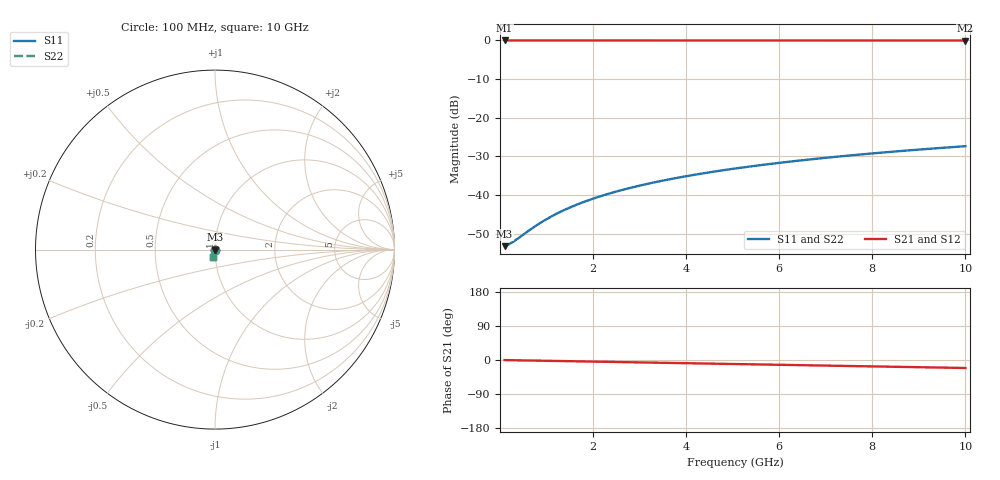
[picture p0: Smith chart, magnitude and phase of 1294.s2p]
# Hz S RI R 50.00
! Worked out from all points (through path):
!   100 points, 100 MHz to 10 GHz, reference 50 ohm
!   highest |S21| = -0.02 dB at 100 MHz (marker M1); lowest = 0.0 dB at 10 GHz (marker M2)
!   group delay of S21, straight-line fit = 5.86 ps
!   lowest |S11| = -53.2 dB at 100 MHz (marker M3), VSWR 1.00, Z = 50.2 - j0.0446 ohm
!   |S11| at or under -10 dB: start of sweep to end of sweep
!   |S22| runs from -53.2 to -27.4 dB; largest |S21 - S12| = 0
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1e8  0.00214 -0.000444  0.9978 -0.00367  0.9978 -0.00367  0.00214 -0.000444
2e8  0.00215 -0.000888  0.9978 -0.00734  0.9978 -0.00734  0.00215 -0.000888
3e8  0.00215 -0.00133  0.9978 -0.011  0.9978 -0.011  0.00215 -0.00133
6e8  0.00212 -0.00266  0.9975 -0.022  0.9975 -0.022  0.00212 -0.00266
8e8  0.00208 -0.00355  0.9973 -0.0294  0.9973 -0.0294  0.00208 -0.00355
9e8  0.00206 -0.00399  0.9972 -0.033  0.9972 -0.033  0.00206 -0.00399
1.1e9  0.002 -0.00488  0.9969 -0.0404  0.9969 -0.0404  0.002 -0.00488
1.4e9  0.00189 -0.00621  0.9964 -0.0514  0.9964 -0.0514  0.00189 -0.00621
1.6e9  0.00179 -0.00709  0.996 -0.0587  0.996 -0.0587  0.00179 -0.00709
1.8e9  0.00169 -0.00797  0.9955 -0.066  0.9955 -0.066  0.00169 -0.00797
2.1e9  0.0015 -0.00929  0.9947 -0.077  0.9947 -0.077  0.0015 -0.00929
2.5e9  0.00121 -0.011  0.9934 -0.0917  0.9934 -0.0917  0.00121 -0.011
2.9e9  0.000863 -0.0128  0.9919 -0.1063  0.9919 -0.1063  0.000863 -0.0128
3.4e9  0.00036 -0.015  0.9897 -0.1245  0.9897 -0.1245  0.00036 -0.015
3.8e9  -9.93e-05 -0.0167  0.9877 -0.1391  0.9877 -0.1391  -9.93e-05 -0.0167
4.2e9  -0.000609 -0.0184  0.9855 -0.1536  0.9855 -0.1536  -0.000609 -0.0184
5.1e9  -0.00194 -0.0222  0.9798 -0.1862  0.9798 -0.1862  -0.00194 -0.0222
5.9e9  -0.00333 -0.0255  0.9737 -0.2149  0.9737 -0.2149  -0.00333 -0.0255
6.7e9  -0.00491 -0.0287  0.9669 -0.2435  0.9669 -0.2435  -0.00491 -0.0287
7.5e9  -0.00668 -0.0318  0.9591 -0.2719  0.9591 -0.2719  -0.00668 -0.0318
8.4e9  -0.00888 -0.0351  0.9494 -0.3035  0.9494 -0.3035  -0.00888 -0.0351
1e10  -0.0133 -0.0407  0.9295 -0.3588  0.9295 -0.3588  -0.0133 -0.0407
